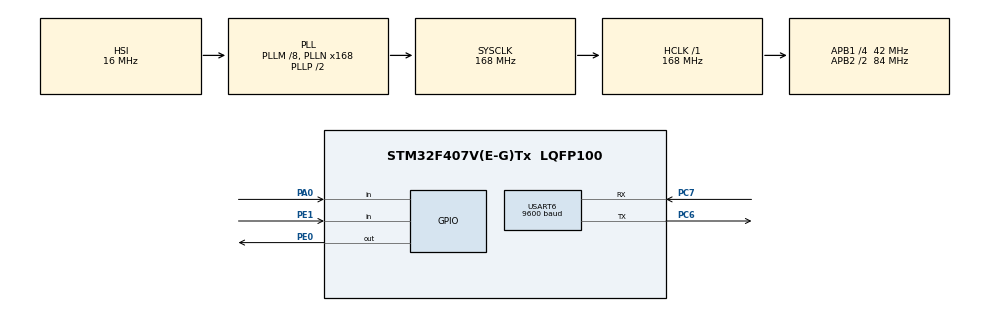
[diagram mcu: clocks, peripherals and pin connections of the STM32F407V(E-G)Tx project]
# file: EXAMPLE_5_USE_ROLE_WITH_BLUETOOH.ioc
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Mcu.Family=STM32F4
Mcu.Name=STM32F407V(E-G)Tx
Mcu.Package=LQFP100
NVIC.PriorityGroup=NVIC_PRIORITYGROUP_4
PA0-WKUP.Signal=GPIO_Input
PC6.Mode=Asynchronous
PC6.Signal=USART6_TX
PC7.Mode=Asynchronous
PC7.Signal=USART6_RX
PE0.Signal=GPIO_Output
PE1.Signal=GPIO_Input
ProjectManager.HeapSize=0x200
ProjectManager.StackSize=0x400
ProjectManager.TargetToolchain=STM32CubeIDE
RCC.48MHZClocksFreq_Value=84000000
RCC.AHBFreq_Value=168000000
RCC.APB1CLKDivider=RCC_HCLK_DIV4
RCC.APB1Freq_Value=42000000
RCC.APB1TimFreq_Value=84000000
RCC.APB2CLKDivider=RCC_HCLK_DIV2
RCC.APB2Freq_Value=84000000
RCC.APB2TimFreq_Value=168000000
RCC.CortexFreq_Value=168000000
RCC.HCLKFreq_Value=168000000
RCC.HSE_VALUE=25000000
RCC.HSI_VALUE=16000000
RCC.LSE_VALUE=32768
RCC.PLLM=8
RCC.PLLN=168
RCC.SYSCLKFreq_VALUE=168000000
RCC.SYSCLKSource=RCC_SYSCLKSOURCE_PLLCLK
RCC.VCOOutputFreq_Value=336000000
USART6.BaudRate=9600
USART6.VirtualMode=VM_ASYNC
board=custom

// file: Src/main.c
/* USER CODE BEGIN Header */
/**
  ******************************************************************************
  * @file           : main.c
  * @brief          : Main program body
  ******************************************************************************
  * @attention
  *
  * <h2><center>&copy; Copyright (c) 2019 STMicroelectronics.
  * All rights reserved.</center></h2>
  *
  * This software component is licensed by ST under BSD 3-Clause license,
  * the "License"; You may not use this file except in compliance with the
  * License. You may obtain a copy of the License at:
  *                        opensource.org/licenses/BSD-3-Clause
  *
  ******************************************************************************
  */
/* USER CODE END Header */

#include "main.h"

/* USER CODE BEGIN Includes */
#include <stdbool.h>
/* USER CODE END Includes */

UART_HandleTypeDef huart6;

/* USER CODE BEGIN PV */

char rx_buffer[50], tx_buffer[50];
bool relay_state = false, pir_state=false;

/* USER CODE END PV */

void SystemClock_Config(void);
static void MX_GPIO_Init(void);
static void MX_USART6_UART_Init(void);

int main(void)
{

  /* MCU Configuration--------------------------------------------------------*/

  /* Reset of all peripherals, Initializes the Flash interface and the Systick. */
  HAL_Init();

  /* Configure the system clock */
  SystemClock_Config();

  /* Initialize all configured peripherals */
  MX_GPIO_Init();
  MX_USART6_UART_Init();

  /* Infinite loop */
  while (1)
  {

    /* USER CODE BEGIN 3 */

	   HAL_UART_Receive(&huart6, (uint8_t*)rx_buffer, 50, 500);
	   pir_state = false;

	if(HAL_GPIO_ReadPin(GPIOE, GPIO_PIN_1))
	{
		while(HAL_GPIO_ReadPin(GPIOE, GPIO_PIN_1));
		pir_state = true;
	}

	  if((rx_buffer[0] == 'o' && rx_buffer[1] == 'n') || (pir_state == true))
	  {

		  if(pir_state == true)
		  {
			  HAL_GPIO_WritePin(GPIOE, GPIO_PIN_0, GPIO_PIN_RESET);
			  if(relay_state != true)
				  HAL_UART_Transmit(&huart6, (uint8_t*)tx_buffer, sprintf(tx_buffer, "LAMBA AÇILDI\n"), 500);
			  relay_state = true;
		  	  HAL_Delay(5000);
		  }
		  else
		  {
		  HAL_GPIO_WritePin(GPIOE, GPIO_PIN_0, GPIO_PIN_RESET);
		  if(relay_state != true)
			  HAL_UART_Transmit(&huart6, (uint8_t*)tx_buffer, sprintf(tx_buffer, "LAMBA AÇILDI\n"), 500);
		  relay_state = true;
		  }
	  }
	  else if((rx_buffer[0] == 'o' && rx_buffer[1] == 'f' && rx_buffer[2] == 'f') || (pir_state == false))
	  {
		  HAL_GPIO_WritePin(GPIOE, GPIO_PIN_0, GPIO_PIN_SET);
		  if(relay_state != false)
			  HAL_UART_Transmit(&huart6, (uint8_t*)tx_buffer, sprintf(tx_buffer, "LAMBA KAPATILDI\n"),  500);
		  relay_state = false;
	  }

  }
  /* USER CODE END 3 */
}

void SystemClock_Config(void)
{
  RCC_OscInitTypeDef RCC_OscInitStruct = {0};
  RCC_ClkInitTypeDef RCC_ClkInitStruct = {0};

  /** Configure the main internal regulator output voltage
  */
  __HAL_RCC_PWR_CLK_ENABLE();
  __HAL_PWR_VOLTAGESCALING_CONFIG(PWR_REGULATOR_VOLTAGE_SCALE1);
  /** Initializes the CPU, AHB and APB busses clocks
  */
  RCC_OscInitStruct.OscillatorType = RCC_OSCILLATORTYPE_HSI;
  RCC_OscInitStruct.HSIState = RCC_HSI_ON;
  RCC_OscInitStruct.HSICalibrationValue = RCC_HSICALIBRATION_DEFAULT;
  RCC_OscInitStruct.PLL.PLLState = RCC_PLL_ON;
  RCC_OscInitStruct.PLL.PLLSource = RCC_PLLSOURCE_HSI;
  RCC_OscInitStruct.PLL.PLLM = 8;
  RCC_OscInitStruct.PLL.PLLN = 168;
  RCC_OscInitStruct.PLL.PLLP = RCC_PLLP_DIV2;
  RCC_OscInitStruct.PLL.PLLQ = 4;
  if (HAL_RCC_OscConfig(&RCC_OscInitStruct) != HAL_OK)
  {
    Error_Handler();
  }
  /** Initializes the CPU, AHB and APB busses clocks
  */
  RCC_ClkInitStruct.ClockType = RCC_CLOCKTYPE_HCLK|RCC_CLOCKTYPE_SYSCLK
                              |RCC_CLOCKTYPE_PCLK1|RCC_CLOCKTYPE_PCLK2;
  RCC_ClkInitStruct.SYSCLKSource = RCC_SYSCLKSOURCE_PLLCLK;
  RCC_ClkInitStruct.AHBCLKDivider = RCC_SYSCLK_DIV1;
  RCC_ClkInitStruct.APB1CLKDivider = RCC_HCLK_DIV4;
  RCC_ClkInitStruct.APB2CLKDivider = RCC_HCLK_DIV2;

  if (HAL_RCC_ClockConfig(&RCC_ClkInitStruct, FLASH_LATENCY_5) != HAL_OK)
  {
    Error_Handler();
  }
}

static void MX_USART6_UART_Init(void)
{

  huart6.Instance = USART6;
  huart6.Init.BaudRate = 9600;
  huart6.Init.WordLength = UART_WORDLENGTH_8B;
  huart6.Init.StopBits = UART_STOPBITS_1;
  huart6.Init.Parity = UART_PARITY_NONE;
  huart6.Init.Mode = UART_MODE_TX_RX;
  huart6.Init.HwFlowCtl = UART_HWCONTROL_NONE;
  huart6.Init.OverSampling = UART_OVERSAMPLING_16;
  if (HAL_UART_Init(&huart6) != HAL_OK)
  {
    Error_Handler();
  }

}

static void MX_GPIO_Init(void)
{
  GPIO_InitTypeDef GPIO_InitStruct = {0};

  /* GPIO Ports Clock Enable */
  __HAL_RCC_GPIOA_CLK_ENABLE();
  __HAL_RCC_GPIOC_CLK_ENABLE();
  __HAL_RCC_GPIOE_CLK_ENABLE();

  /*Configure GPIO pin Output Level */
  HAL_GPIO_WritePin(GPIOE, GPIO_PIN_0, GPIO_PIN_RESET);

  /*Configure GPIO pin : PA0 */
  GPIO_InitStruct.Pin = GPIO_PIN_0;
  GPIO_InitStruct.Mode = GPIO_MODE_INPUT;
  GPIO_InitStruct.Pull = GPIO_NOPULL;
  HAL_GPIO_Init(GPIOA, &GPIO_InitStruct);

  /*Configure GPIO pin : PE0 */
  GPIO_InitStruct.Pin = GPIO_PIN_0;
  GPIO_InitStruct.Mode = GPIO_MODE_OUTPUT_PP;
  GPIO_InitStruct.Pull = GPIO_NOPULL;
  GPIO_InitStruct.Speed = GPIO_SPEED_FREQ_LOW;
  HAL_GPIO_Init(GPIOE, &GPIO_InitStruct);

  /*Configure GPIO pin : PE1 */
  GPIO_InitStruct.Pin = GPIO_PIN_1;
  GPIO_InitStruct.Mode = GPIO_MODE_INPUT;
  GPIO_InitStruct.Pull = GPIO_NOPULL;
  HAL_GPIO_Init(GPIOE, &GPIO_InitStruct);

}

void Error_Handler(void)
{
}

/************************ (C) COPYRIGHT STMicroelectronics *****END OF FILE****/
